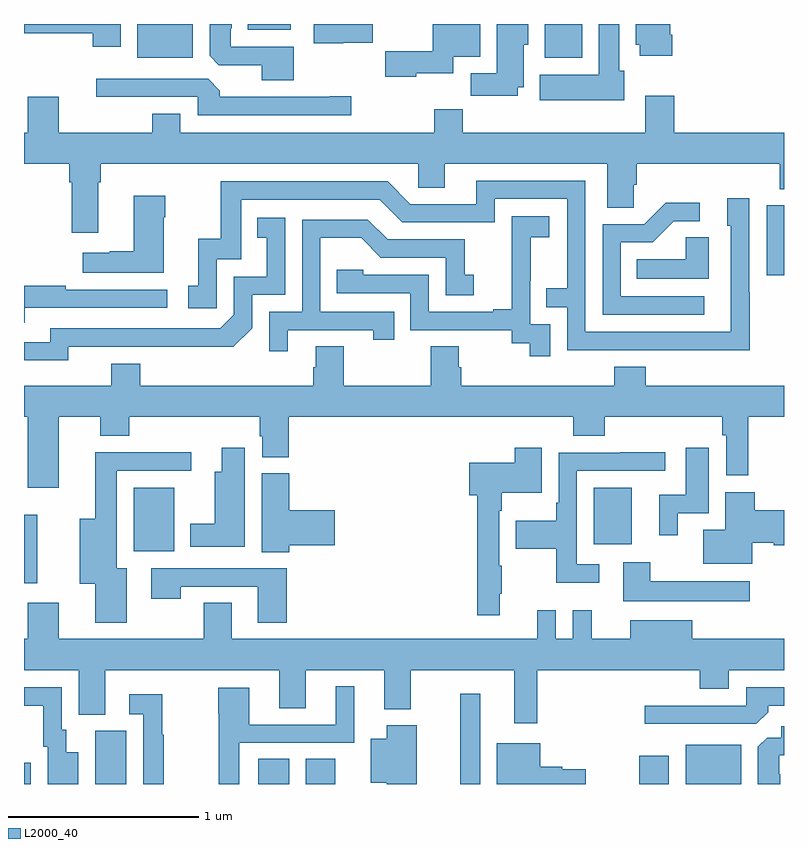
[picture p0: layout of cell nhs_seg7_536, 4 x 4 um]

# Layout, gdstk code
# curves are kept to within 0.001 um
import gdstk
lib = gdstk.Library(unit=1e-6, precision=1e-09)
def R(c, l, rs):  # rectangles x0, y0, x1, y1
    for r in rs: c.add(gdstk.rectangle(r[:2], r[2:], *l))
def P(c, l, *ps):  # polygons
    for p in ps: c.add(gdstk.Polygon(p, *l))
L2000_40 = (2000, 40)

nhs_seg7_536 = lib.new_cell('nhs_seg7_536')
R(nhs_seg7_536, L2000_40, [(153,1016,153.036,1016.113), (153.374,1016,153.538,1016.28), (154.232,1016,154.396,1016.132), (154.484,1016,154.639,1016.132), (155.297,1016,155.401,1016.476), (156.239,1016,156.394,1016.149), (156.482,1016,156.775,1016.206), (153,1017.057,153.07,1017.416), (153.578,1017.224,153.79,1017.559), (155.999,1017.263,156.199,1017.559), (156.909,1018.677,157,1019.046), (153.596,1019.822,153.889,1020), (155.741,1019.822,155.938,1020), (154.178,1019.969,154.405,1020)])
P(nhs_seg7_536, L2000_40, [(153.508,1020),(153,1020),(153,1019.952),(153.362,1019.952),(153.362,1019.88),(153.508,1019.88)],
  [(155.064,1019.741),(155.26,1019.741),(155.26,1019.828),(155.401,1019.828),(155.401,1020),(155.15,1020),(155.15,1019.856),(154.902,1019.856),(154.902,1019.722),(155.064,1019.722)],
  [(156.16,1019.754),(156.133,1019.754),(156.133,1020),(156.026,1020),(156.026,1019.734),(155.714,1019.734),(155.714,1019.6),(156.16,1019.6)],
  [(154.42,1019.88),(154.089,1019.88),(154.089,1019.977),(154.093,1019.977),(154.093,1020),(153.977,1020),(153.977,1019.833),(154.026,1019.784),(154.25,1019.784),(154.25,1019.705),(154.42,1019.705)],
  [(156.413,1019.944),(156.4,1019.944),(156.4,1020),(156.221,1020),(156.221,1019.892),(156.242,1019.892),(156.242,1019.832),(156.413,1019.832)],
  [(155.599,1019.666),(155.629,1019.666),(155.629,1019.892),(155.653,1019.892),(155.653,1020),(155.489,1020),(155.489,1019.74),(155.35,1019.74),(155.35,1019.622),(155.599,1019.622)],
  [(154.68,1019.902),(154.835,1019.902),(154.835,1020),(154.524,1020),(154.524,1019.9),(154.68,1019.9)],
  [(154.723,1019.621),(154.61,1019.621),(154.61,1019.616),(154.031,1019.616),(154.031,1019.65),(153.969,1019.712),(153.381,1019.712),(153.381,1019.616),(153.915,1019.616),(153.915,1019.52),(154.723,1019.52)],
  [(153.391,1019.168),(153.404,1019.168),(153.404,1019.264),(155.076,1019.264),(155.076,1019.137),(155.215,1019.137),(155.215,1019.264),(156.071,1019.264),(156.071,1019.032),(156.21,1019.032),(156.21,1019.155),(156.224,1019.155),(156.224,1019.264),(156.977,1019.264),(156.977,1019.131),(157,1019.131),(157,1019.428),(156.422,1019.428),(156.422,1019.623),(156.269,1019.623),(156.269,1019.428),(155.309,1019.428),(155.309,1019.552),(155.158,1019.552),(155.158,1019.428),(153.823,1019.428),(153.823,1019.527),(153.676,1019.527),(153.676,1019.428),(153.184,1019.428),(153.184,1019.617),(153.02,1019.617),(153.02,1019.428),(153,1019.428),(153,1019.264),(153.239,1019.264),(153.239,1019.168),(153.251,1019.168),(153.251,1018.902),(153.391,1018.902)],
  [(156.819,1018.589),(156.816,1018.589),(156.816,1019.083),(156.701,1019.083),(156.701,1018.938),(156.72,1018.938),(156.72,1018.38),(155.955,1018.38),(155.955,1019.175),(155.381,1019.175),(155.381,1019.052),(155.034,1019.052),(154.914,1019.172),(154.035,1019.172),(154.035,1018.87),(153.917,1018.87),(153.917,1018.623),(153.864,1018.623),(153.864,1018.503),(154.014,1018.503),(154.014,1018.761),(154.143,1018.761),(154.143,1019.076),(154.872,1019.076),(154.992,1018.956),(155.478,1018.956),(155.478,1019.079),(155.859,1019.079),(155.859,1018.61),(155.749,1018.61),(155.749,1018.509),(155.859,1018.509),(155.859,1018.284),(156.819,1018.283)],
  [(153.736,1018.982),(153.744,1018.982),(153.744,1019.095),(153.578,1019.095),(153.578,1018.805),(153.452,1018.805),(153.452,1018.795),(153.309,1018.795),(153.309,1018.691),(153.736,1018.691)],
  [(156.58,1018.566),(156.141,1018.566),(156.141,1018.851),(156.31,1018.851),(156.421,1018.962),(156.556,1018.962),(156.556,1019.06),(156.377,1019.06),(156.264,1018.947),(156.045,1018.947),(156.045,1018.47),(156.58,1018.47)],
  [(155.769,1018.419),(155.664,1018.419),(155.664,1018.649),(155.666,1018.649),(155.666,1018.877),(155.764,1018.877),(155.764,1018.987),(155.566,1018.987),(155.566,1018.781),(155.567,1018.781),(155.567,1018.498),(155.471,1018.498),(155.471,1018.485),(155.13,1018.485),(155.13,1018.68),(154.785,1018.68),(154.785,1018.707),(154.645,1018.707),(154.645,1018.584),(155.034,1018.584),(155.034,1018.389),(155.568,1018.389),(155.568,1018.321),(155.661,1018.321),(155.661,1018.251),(155.769,1018.251)],
  [(153.234,1018.302),(154.102,1018.301),(154.2,1018.398),(154.2,1018.575),(154.374,1018.575),(154.374,1018.981),(154.228,1018.981),(154.228,1018.875),(154.277,1018.875),(154.277,1018.671),(154.104,1018.671),(154.104,1018.47),(154.032,1018.398),(153.138,1018.398),(153.138,1018.326),(153,1018.326),(153,1018.229),(153.234,1018.229)],
  [(154.387,1018.389),(154.838,1018.389),(154.838,1018.338),(154.949,1018.338),(154.949,1018.485),(154.56,1018.485),(154.56,1018.874),(154.774,1018.874),(154.878,1018.77),(155.22,1018.77),(155.22,1018.572),(155.368,1018.572),(155.368,1018.681),(155.319,1018.681),(155.319,1018.866),(154.915,1018.866),(154.81,1018.971),(154.464,1018.971),(154.464,1018.485),(154.29,1018.485),(154.29,1018.278),(154.387,1018.278)],
  [(156.604,1018.877),(156.483,1018.877),(156.483,1018.762),(156.226,1018.762),(156.226,1018.658),(156.604,1018.658)],
  [(153.005,1018.506),(153.754,1018.506),(153.754,1018.602),(153.221,1018.602),(153.221,1018.622),(153,1018.622),(153,1018.428),(153.005,1018.428)],
  [(153.184,1017.932),(153.401,1017.932),(153.401,1017.833),(153.554,1017.833),(153.554,1017.932),(154.241,1017.932),(154.241,1017.831),(154.253,1017.831),(154.253,1017.721),(154.394,1017.721),(154.394,1017.932),(155.891,1017.932),(155.891,1017.833),(156.056,1017.833),(156.056,1017.932),(156.676,1017.932),(156.676,1017.836),(156.696,1017.836),(156.696,1017.624),(156.812,1017.624),(156.812,1017.932),(157,1017.932),(157,1018.096),(156.272,1018.096),(156.272,1018.195),(156.107,1018.195),(156.107,1018.096),(155.3,1018.096),(155.3,1018.194),(155.287,1018.194),(155.287,1018.304),(155.14,1018.304),(155.14,1018.096),(154.683,1018.096),(154.683,1018.304),(154.535,1018.304),(154.535,1018.194),(154.523,1018.194),(154.523,1018.096),(153.611,1018.096),(153.611,1018.213),(153.458,1018.213),(153.458,1018.096),(153,1018.096),(153,1017.932),(153.02,1017.932),(153.02,1017.558),(153.184,1017.558)],
  [(156.442,1017.426),(156.604,1017.426),(156.604,1017.769),(156.482,1017.769),(156.482,1017.522),(156.344,1017.522),(156.344,1017.309),(156.442,1017.309)],
  [(154.162,1017.769),(154.04,1017.769),(154.04,1017.643),(154.004,1017.643),(154.004,1017.37),(153.875,1017.37),(153.875,1017.248),(154.162,1017.248)],
  [(155.504,1017.001),(155.515,1017.001),(155.515,1017.149),(155.502,1017.149),(155.502,1017.437),(155.515,1017.437),(155.515,1017.533),(155.725,1017.533),(155.725,1017.769),(155.582,1017.769),(155.582,1017.691),(155.343,1017.691),(155.343,1017.521),(155.386,1017.521),(155.386,1016.889),(155.504,1016.889)],
  [(153.541,1017.136),(153.487,1017.136),(153.487,1017.648),(153.88,1017.648),(153.88,1017.746),(153.374,1017.746),(153.374,1017.397),(153.293,1017.397),(153.293,1017.053),(153.374,1017.053),(153.374,1016.85),(153.541,1016.85)],
  [(156.028,1017.156),(155.91,1017.156),(155.91,1017.648),(156.376,1017.648),(156.376,1017.746),(156.139,1017.746),(156.139,1017.744),(155.814,1017.744),(155.814,1017.481),(155.802,1017.481),(155.802,1017.385),(155.587,1017.385),(155.587,1017.238),(155.802,1017.238),(155.802,1017.059),(156.028,1017.059)],
  [(154.397,1017.257),(154.636,1017.257),(154.636,1017.44),(154.397,1017.44),(154.397,1017.636),(154.25,1017.636),(154.25,1017.22),(154.397,1017.22)],
  [(156.832,1017.269),(156.947,1017.269),(156.947,1017.257),(157,1017.257),(157,1017.44),(156.845,1017.44),(156.845,1017.535),(156.692,1017.535),(156.692,1017.337),(156.575,1017.337),(156.575,1017.158),(156.832,1017.158)],
  [(156.82,1017.067),(156.295,1017.067),(156.295,1017.166),(156.155,1017.166),(156.155,1016.963),(156.82,1016.963)],
  [(154.382,1017.135),(153.669,1017.135),(153.669,1016.976),(153.825,1016.976),(153.825,1017.039),(154.229,1017.039),(154.229,1016.85),(154.382,1016.85)],
  [(155.701,1016.6),(156.557,1016.6),(156.557,1016.501),(156.709,1016.501),(156.709,1016.6),(157,1016.6),(157,1016.764),(156.517,1016.764),(156.517,1016.863),(156.191,1016.863),(156.191,1016.764),(155.987,1016.764),(155.987,1016.914),(155.889,1016.914),(155.889,1016.764),(155.799,1016.764),(155.799,1016.914),(155.702,1016.914),(155.702,1016.764),(154.093,1016.764),(154.093,1016.954),(153.946,1016.954),(153.946,1016.764),(153.184,1016.764),(153.184,1016.953),(153.02,1016.953),(153.02,1016.764),(153,1016.764),(153,1016.6),(153.287,1016.6),(153.287,1016.365),(153.427,1016.365),(153.427,1016.6),(154.343,1016.6),(154.343,1016.398),(154.483,1016.398),(154.483,1016.6),(154.895,1016.6),(154.895,1016.394),(155.035,1016.394),(155.035,1016.6),(155.579,1016.6),(155.579,1016.319),(155.701,1016.319)],
  [(154.134,1016.217),(154.738,1016.217),(154.738,1016.515),(154.64,1016.515),(154.64,1016.313),(154.186,1016.313),(154.186,1016.506),(154.022,1016.506),(154.022,1016.37),(154.026,1016.37),(154.026,1016),(154.134,1016)],
  [(153.286,1016.167),(153.223,1016.167),(153.223,1016.286),(153.198,1016.286),(153.198,1016.508),(153,1016.508),(153,1016.412),(153.101,1016.412),(153.101,1016.196),(153.125,1016.196),(153.125,1016),(153.286,1016)],
  [(156.917,1016.378),(156.917,1016.412),(157,1016.412),(157,1016.508),(156.801,1016.508),(156.801,1016.412),(156.267,1016.412),(156.267,1016.316),(156.855,1016.316)],
  [(153.736,1016.26),(153.728,1016.26),(153.728,1016.473),(153.555,1016.473),(153.555,1016.367),(153.627,1016.367),(153.627,1016),(153.736,1016)],
  [(155.068,1016.308),(154.91,1016.308),(154.91,1016.239),(154.826,1016.239),(154.826,1016.006),(154.91,1016.006),(154.91,1016),(155.068,1016)],
  [(156.979,1016.051),(156.975,1016.051),(156.975,1016.151),(157,1016.151),(157,1016.305),(156.986,1016.305),(156.986,1016.244),(156.912,1016.244),(156.863,1016.195),(156.863,1016),(156.979,1016)],
  [(155.956,1016.077),(155.832,1016.077),(155.832,1016.09),(155.716,1016.09),(155.716,1016.215),(155.489,1016.215),(155.489,1016),(155.956,1016)])

lib.write_gds('nhs_seg7_536.gds')
